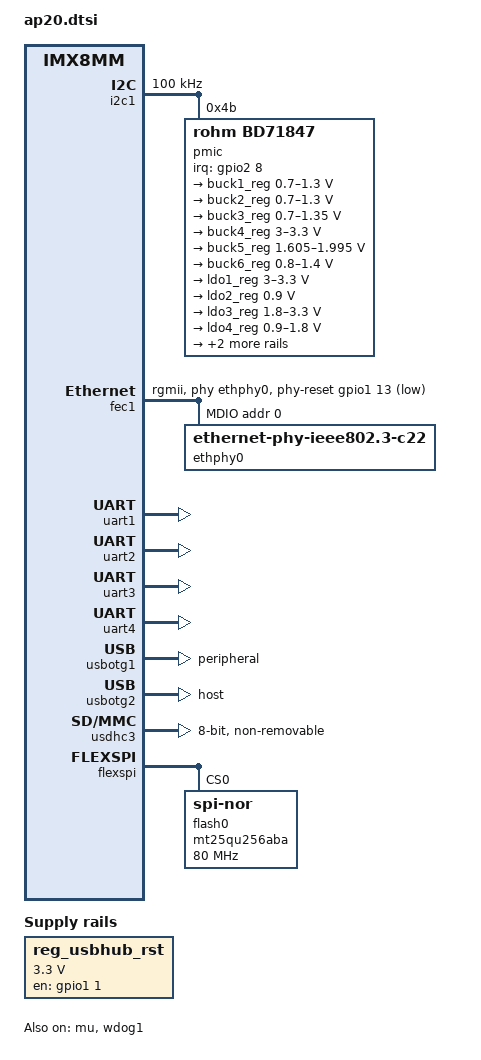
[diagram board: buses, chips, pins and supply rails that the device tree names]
/*
 * Copyright 2018 NXP
 * Copyright 2019 Variscite Ltd.
 * Copyright (C) 2021 Leica Geosystems AG
 *
 * This program is free software; you can redistribute it and/or
 * modify it under the terms of the GNU General Public License
 * as published by the Free Software Foundation; either version 2
 * of the License, or (at your option) any later version.
 *
 * This program is distributed in the hope that it will be useful,
 * but WITHOUT ANY WARRANTY; without even the implied warranty of
 * MERCHANTABILITY or FITNESS FOR A PARTICULAR PURPOSE.  See the
 * GNU General Public License for more details.
 */

#include <dt-bindings/usb/pd.h>
#include "imx8mm.dtsi"

/ {
	compatible = "variscite,dart-mx8mm", "fsl,imx8mm";

	chosen {
		bootargs = "console=ttymxc0,115200 earlycon=ec_imx6q,0x30860000,115200";
		stdout-path = &uart1;
	};

	reserved-memory {
		/* cma region is provided by kernel command line as cma=<size>M */
		/delete-node/ linux,cma;

		/delete-node/ rpmsg@b8000000;
		rpmsg_reserved: rpmsg@40000000 {
			no-map;
			reg = <0 0x40000000 0 0x400000>;
		};
	};

	reg_usbhub_rst: regulator-usbhub {
		compatible = "regulator-fixed";
		pinctrl-names = "default";
		pinctrl-0 = <&pinctrl_usbhub>;
		regulator-name = "usbhub_rst_n";
		regulator-min-microvolt = <3300000>;
		regulator-max-microvolt = <3300000>;
		gpio = <&gpio1 1 GPIO_ACTIVE_HIGH>;
		regulator-always-on;
		enable-active-high;
	};
};

&iomuxc {
	pinctrl-names = "default";
	pinctrl-0 = <&pinctrl_gpios>;

	imx8mm-var-dart {
		pinctrl_fec1: fec1grp {
			fsl,pins = <
				MX8MM_IOMUXC_ENET_MDC_ENET1_MDC			0x3
				MX8MM_IOMUXC_ENET_MDIO_ENET1_MDIO		0x3
				MX8MM_IOMUXC_ENET_TD3_ENET1_RGMII_TD3		0x1f
				MX8MM_IOMUXC_ENET_TD2_ENET1_RGMII_TD2		0x1f
				MX8MM_IOMUXC_ENET_TD1_ENET1_RGMII_TD1		0x1f
				MX8MM_IOMUXC_ENET_TD0_ENET1_RGMII_TD0		0x1f
				MX8MM_IOMUXC_ENET_RD3_ENET1_RGMII_RD3		0x91
				MX8MM_IOMUXC_ENET_RD2_ENET1_RGMII_RD2		0x91
				MX8MM_IOMUXC_ENET_RD1_ENET1_RGMII_RD1		0x91
				MX8MM_IOMUXC_ENET_RD0_ENET1_RGMII_RD0		0x91
				MX8MM_IOMUXC_ENET_TXC_ENET1_RGMII_TXC		0x1f
				MX8MM_IOMUXC_ENET_RXC_ENET1_RGMII_RXC		0x91
				MX8MM_IOMUXC_ENET_RX_CTL_ENET1_RGMII_RX_CTL	0x91
				MX8MM_IOMUXC_ENET_TX_CTL_ENET1_RGMII_TX_CTL	0x1f
				MX8MM_IOMUXC_GPIO1_IO13_GPIO1_IO13		0x19
			>;
		};

		pinctrl_flexspi0: flexspi0grp {
			fsl,pins = <
				MX8MM_IOMUXC_NAND_ALE_QSPI_A_SCLK		0x1c2
				MX8MM_IOMUXC_NAND_CE0_B_QSPI_A_SS0_B		0x82
				MX8MM_IOMUXC_NAND_DATA00_QSPI_A_DATA0		0x82
				MX8MM_IOMUXC_NAND_DATA01_QSPI_A_DATA1		0x82
				MX8MM_IOMUXC_NAND_DATA02_QSPI_A_DATA2		0x82
				MX8MM_IOMUXC_NAND_DATA03_QSPI_A_DATA3		0x82
			>;
		};

		pinctrl_i2c1: i2c1grp {
			fsl,pins = <
				MX8MM_IOMUXC_I2C1_SCL_I2C1_SCL			0x400001c3
				MX8MM_IOMUXC_I2C1_SDA_I2C1_SDA			0x400001c3
			>;
		};

		pinctrl_pmic: pmicirq {
			fsl,pins = <
				MX8MM_IOMUXC_SD1_DATA6_GPIO2_IO8		0x41
			>;
		};

		pinctrl_uart1: uart1grp {
			fsl,pins = <
				MX8MM_IOMUXC_UART1_RXD_UART1_DCE_RX		0x140
				MX8MM_IOMUXC_UART1_TXD_UART1_DCE_TX		0x140
			>;
		};

		pinctrl_uart2: uart2grp {
			fsl,pins = <
				MX8MM_IOMUXC_UART2_RXD_UART2_DCE_RX		0x140
				MX8MM_IOMUXC_UART2_TXD_UART2_DCE_TX		0x140
			>;
		};

		pinctrl_uart3: uart3grp {
			fsl,pins = <
				MX8MM_IOMUXC_ECSPI1_SCLK_UART3_DCE_RX		0x140
				MX8MM_IOMUXC_ECSPI1_MOSI_UART3_DCE_TX		0x140
				MX8MM_IOMUXC_ECSPI1_SS0_UART3_DCE_RTS_B		0x140
				MX8MM_IOMUXC_ECSPI1_MISO_UART3_DCE_CTS_B    	0x140
			>;
		};

		pinctrl_uart4: uart4grp {
			fsl,pins = <
				MX8MM_IOMUXC_UART4_RXD_UART4_DCE_RX		0x140
				MX8MM_IOMUXC_UART4_TXD_UART4_DCE_TX		0x140
			>;
		};

		pinctrl_usdhc3: usdhc3grp {
			fsl,pins = <
				MX8MM_IOMUXC_NAND_WE_B_USDHC3_CLK		0x190
				MX8MM_IOMUXC_NAND_WP_B_USDHC3_CMD		0x1d0
				MX8MM_IOMUXC_NAND_DATA04_USDHC3_DATA0		0x1d0
				MX8MM_IOMUXC_NAND_DATA05_USDHC3_DATA1		0x1d0
				MX8MM_IOMUXC_NAND_DATA06_USDHC3_DATA2		0x1d0
				MX8MM_IOMUXC_NAND_DATA07_USDHC3_DATA3		0x1d0
				MX8MM_IOMUXC_NAND_RE_B_USDHC3_DATA4		0x1d0
				MX8MM_IOMUXC_NAND_CE2_B_USDHC3_DATA5		0x1d0
				MX8MM_IOMUXC_NAND_CE3_B_USDHC3_DATA6		0x1d0
				MX8MM_IOMUXC_NAND_CLE_USDHC3_DATA7		0x1d0
				MX8MM_IOMUXC_NAND_CE1_B_USDHC3_STROBE 		0x190
			>;
		};

		pinctrl_usdhc3_100mhz: usdhc3grp100mhz {
			fsl,pins = <
				MX8MM_IOMUXC_NAND_WE_B_USDHC3_CLK		0x194
				MX8MM_IOMUXC_NAND_WP_B_USDHC3_CMD		0x1d4
				MX8MM_IOMUXC_NAND_DATA04_USDHC3_DATA0		0x1d4
				MX8MM_IOMUXC_NAND_DATA05_USDHC3_DATA1		0x1d4
				MX8MM_IOMUXC_NAND_DATA06_USDHC3_DATA2		0x1d4
				MX8MM_IOMUXC_NAND_DATA07_USDHC3_DATA3		0x1d4
				MX8MM_IOMUXC_NAND_RE_B_USDHC3_DATA4		0x1d4
				MX8MM_IOMUXC_NAND_CE2_B_USDHC3_DATA5		0x1d4
				MX8MM_IOMUXC_NAND_CE3_B_USDHC3_DATA6		0x1d4
				MX8MM_IOMUXC_NAND_CLE_USDHC3_DATA7		0x1d4
				MX8MM_IOMUXC_NAND_CE1_B_USDHC3_STROBE 		0x194
			>;
		};

		pinctrl_usdhc3_200mhz: usdhc3grp200mhz {
			fsl,pins = <
				MX8MM_IOMUXC_NAND_WE_B_USDHC3_CLK		0x196
				MX8MM_IOMUXC_NAND_WP_B_USDHC3_CMD		0x1d6
				MX8MM_IOMUXC_NAND_DATA04_USDHC3_DATA0		0x1d6
				MX8MM_IOMUXC_NAND_DATA05_USDHC3_DATA1		0x1d6
				MX8MM_IOMUXC_NAND_DATA06_USDHC3_DATA2		0x1d6
				MX8MM_IOMUXC_NAND_DATA07_USDHC3_DATA3		0x1d6
				MX8MM_IOMUXC_NAND_RE_B_USDHC3_DATA4		0x1d6
				MX8MM_IOMUXC_NAND_CE2_B_USDHC3_DATA5		0x1d6
				MX8MM_IOMUXC_NAND_CE3_B_USDHC3_DATA6		0x1d6
				MX8MM_IOMUXC_NAND_CLE_USDHC3_DATA7		0x1d6
				MX8MM_IOMUXC_NAND_CE1_B_USDHC3_STROBE 		0x196
			>;
		};

		pinctrl_wdog: wdoggrp {
			fsl,pins = <
				MX8MM_IOMUXC_GPIO1_IO02_WDOG1_WDOG_B		0xc6
			>;
		};

		pinctrl_usbhub: regulator-usbhub {
			fsl,pins = <
				MX8MM_IOMUXC_GPIO1_IO01_GPIO1_IO1		0x16
			>;
		};

		pinctrl_gpios: gpiosgrp {
			fsl,pins = <
				MX8MM_IOMUXC_GPIO1_IO03_GPIO1_IO3		0x16
				MX8MM_IOMUXC_GPIO1_IO05_GPIO1_IO5		0x16
				MX8MM_IOMUXC_GPIO1_IO06_GPIO1_IO6		0x16
				MX8MM_IOMUXC_GPIO1_IO08_GPIO1_IO8		0x16
				MX8MM_IOMUXC_GPIO1_IO10_GPIO1_IO10		0x16
				MX8MM_IOMUXC_GPIO1_IO11_GPIO1_IO11		0x16
				MX8MM_IOMUXC_GPIO1_IO15_GPIO1_IO15		0x16
				MX8MM_IOMUXC_SPDIF_TX_GPIO5_IO3			0x16
				MX8MM_IOMUXC_SPDIF_RX_GPIO5_IO4			0x16
				MX8MM_IOMUXC_SPDIF_EXT_CLK_GPIO5_IO5		0x16
			>;
		};
	};
};

&i2c1 {
	clock-frequency = <100000>;
	pinctrl-names = "default";
	pinctrl-0 = <&pinctrl_i2c1>;
	status = "okay";

	pmic@4b {
		reg = <0x4b>;
		compatible = "rohm,bd71847";
		pinctrl-0 = <&pinctrl_pmic>;
		interrupt-parent = <&gpio2>;
		interrupts = <8 GPIO_ACTIVE_LOW>;
		rohm,reset-snvs-powered;

		regulators {
			#address-cells = <1>;
			#size-cells = <0>;

			buck1_reg: regulator@0 {
				reg = <0>;
				regulator-compatible = "BUCK1";
				regulator-min-microvolt = <700000>;
				regulator-max-microvolt = <1300000>;
				regulator-boot-on;
				regulator-always-on;
				regulator-ramp-delay = <1250>;
			};

			buck2_reg: regulator@1 {
				reg = <1>;
				regulator-compatible = "BUCK2";
				regulator-min-microvolt = <700000>;
				regulator-max-microvolt = <1300000>;
				regulator-boot-on;
				regulator-always-on;
				regulator-ramp-delay = <1250>;
				rohm,dvs-run-voltage = <1000000>;
				rohm,dvs-idle-voltage = <900000>;
			};

			buck3_reg: regulator@2 {
				// BUCK5 in datasheet
				reg = <2>;
				regulator-compatible = "BUCK3";
				regulator-min-microvolt = <700000>;
				regulator-max-microvolt = <1350000>;
				regulator-boot-on;
				regulator-always-on;
			};

			buck4_reg: regulator@3 {
				// BUCK6 in datasheet
				reg = <3>;
				regulator-compatible = "BUCK4";
				regulator-min-microvolt = <3000000>;
				regulator-max-microvolt = <3300000>;
				regulator-boot-on;
				regulator-always-on;
			};

			buck5_reg: regulator@4 {
				// BUCK7 in datasheet
				reg = <4>;
				regulator-compatible = "BUCK5";
				regulator-min-microvolt = <1605000>;
				regulator-max-microvolt = <1995000>;
				regulator-boot-on;
				regulator-always-on;
			};

			buck6_reg: regulator@5 {
				// BUCK8 in datasheet
				reg = <5>;
				regulator-compatible = "BUCK6";
				regulator-min-microvolt = <800000>;
				regulator-max-microvolt = <1400000>;
				regulator-boot-on;
				regulator-always-on;
			};

			ldo1_reg: regulator@6 {
				reg = <6>;
				regulator-compatible = "LDO1";
				regulator-min-microvolt = <3000000>;
				regulator-max-microvolt = <3300000>;
				regulator-boot-on;
				regulator-always-on;
			};

			ldo2_reg: regulator@7 {
				reg = <7>;
				regulator-compatible = "LDO2";
				regulator-min-microvolt = <900000>;
				regulator-max-microvolt = <900000>;
				regulator-boot-on;
				regulator-always-on;
			};

			ldo3_reg: regulator@8 {
				reg = <8>;
				regulator-compatible = "LDO3";
				regulator-min-microvolt = <1800000>;
				regulator-max-microvolt = <3300000>;
				regulator-boot-on;
				regulator-always-on;
			};

			ldo4_reg: regulator@9 {
				reg = <9>;
				regulator-compatible = "LDO4";
				regulator-min-microvolt = <900000>;
				regulator-max-microvolt = <1800000>;
				regulator-boot-on;
				regulator-always-on;
			};

			ldo5_reg: regulator@12 {
				reg = <12>;
				regulator-compatible = "LDO5";
				regulator-min-microvolt = <1800000>;
				regulator-max-microvolt = <1800000>;
				regulator-always-on;
			};

			ldo6_reg: regulator@11 {
				reg = <11>;
				regulator-compatible = "LDO6";
				regulator-min-microvolt = <900000>;
				regulator-max-microvolt = <1800000>;
				regulator-boot-on;
				regulator-always-on;
			};
		};
	};
};

&mu {
	status = "okay";
};

&fec1 {
	pinctrl-names = "default";
	pinctrl-0 = <&pinctrl_fec1>;
	phy-mode = "rgmii";
	phy-handle = <&ethphy0>;
	phy-reset-gpios = <&gpio1 13 GPIO_ACTIVE_LOW>;
	phy-reset-duration = <10>;
	fsl,magic-packet;
	status = "okay";

	mdio {
		#address-cells = <1>;
		#size-cells = <0>;

		ethphy0: ethernet-phy@0 {
			compatible = "ethernet-phy-ieee802.3-c22";
			reg = <0>;
		};
	};
};

/* Console */
&uart1 {
	pinctrl-names = "default";
	pinctrl-0 = <&pinctrl_uart1>;
	status = "okay";
};

/* MCU */
&uart2 {
	pinctrl-names = "default";
	pinctrl-0 = <&pinctrl_uart2>;
	status = "okay";
};

/* BLE Module */
&uart3 {
	pinctrl-names = "default";
	pinctrl-0 = <&pinctrl_uart3>;
	uart-has-rtscts;
	status = "okay";
};

/* GNSS */
&uart4 {
	pinctrl-names = "default";
	pinctrl-0 = <&pinctrl_uart4>;
	status = "okay";
};

&usbotg1 {
	dr_mode = "peripheral";
	picophy,pre-emp-curr-control = <3>;
	picophy,dc-vol-level-adjust = <7>;
	status = "okay";
};

&usbotg2 {
	dr_mode = "host";
	picophy,pre-emp-curr-control = <3>;
	picophy,dc-vol-level-adjust = <7>;
	status = "okay";
};

/* EMMC */
&usdhc3 {
	pinctrl-names = "default", "state_100mhz", "state_200mhz";
	pinctrl-0 = <&pinctrl_usdhc3>;
	pinctrl-1 = <&pinctrl_usdhc3_100mhz>;
	pinctrl-2 = <&pinctrl_usdhc3_200mhz>;
	bus-width = <8>;
	non-removable;
	status = "okay";
};

&wdog1 {
	pinctrl-names = "default";
	pinctrl-0 = <&pinctrl_wdog>;
	fsl,ext-reset-output;
	status = "okay";
};

&A53_0 {
	arm-supply = <&buck2_reg>;
};

&flexspi {
	pinctrl-names = "default";
	pinctrl-0 = <&pinctrl_flexspi0>;
	status = "okay";

	flash0: mt25qu256aba@0 {
		reg = <0>;
		#address-cells = <1>;
		#size-cells = <1>;
		compatible = "jedec,spi-nor";
		spi-max-frequency = <80000000>;
		spi-tx-bus-width = <4>;
		spi-rx-bus-width = <4>;
	};
};

&snvs_rtc {
	status = "disabled";
};

&gpio1 {
	gpio-line-names =
		"", "", "",
		"CPU_BLE_RST_N",
		"",
		"CPU_IMU_DATA_EN",
		"CPU_IMU_ONOFF_N",
		"",
		"CPU_IMU_DET",
		"",
		"CPU_ENET_INT",
		"CPU_ENET_WOL",
		"CPU_GNSS_EXT_INT",
		"",
		"MCU_CPU_RDY",
		"CPU_GNSS_RST_N";
};

&gpio5 {
	gpio-line-names =
		"", "", "",
		"CPU_GPIO5_IO03",
		"CPU_GPIO5_IO04",
		"CPU_GPIO5_IO05";
};
